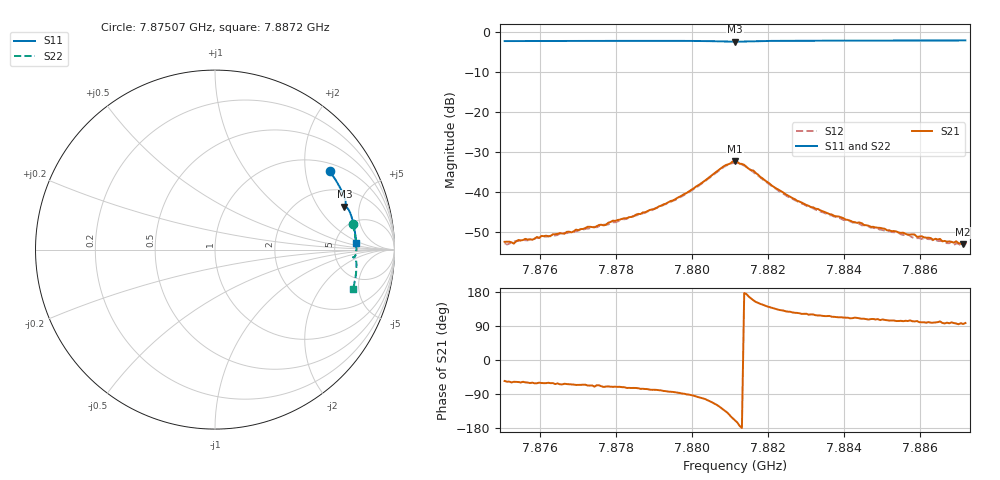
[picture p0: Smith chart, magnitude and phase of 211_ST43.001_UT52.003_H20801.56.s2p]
#  HZ  S  DB  R  50.00
! Rohde & Schwarz Vector Network Analyzer
! Rohde-Schwarz,ZNB20-2Port,1311601062101988,3.16
! Created: UTC 1/12/2023, 6:45:05 PM
! freq[Hz]  db:S11  ang:S11  db:S21  ang:S21  db:S12  ang:S12  db:S22  ang:S22
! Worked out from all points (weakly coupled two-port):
!   201 points, 7.87507 GHz to 7.8872 GHz, reference 50 ohm
!   highest |S21| = -32.35 dB at 7.88113 GHz (marker M1); lowest = -53.1 dB at 7.88714 GHz (marker M2)
!   lowest |S11| = -2.4 dB at 7.88113 GHz (marker M3), VSWR 7.32, Z = 157 + j177 ohm
!   |S11| at or under -10 dB: nowhere
!   |S22| runs from -2.3 to -1.9 dB; largest |S21 - S12| = 0.002
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7.875065e9  -2.23 34.3  -52.44 -55.4  -52.80 -58.3  -2.16 10.5
7.875308e9  -2.22 33.7  -52.88 -57.5  -52.31 -60.4  -2.16 9.9
7.875429e9  -2.22 33.3  -51.99 -58.1  -52.19 -63.2  -2.16 9.6
7.875793e9  -2.22 32.3  -51.92 -59.7  -51.61 -62.9  -2.14 8.8
7.877127e9  -2.20 28.7  -49.22 -65.2  -49.43 -68.6  -2.11 5.6
7.877734e9  -2.19 27.1  -48.17 -70.0  -48.14 -72.6  -2.09 4.2
7.879129e9  -2.18 23.2  -43.59 -79.7  -43.74 -83.8  -2.07 1.0
7.879857e9  -2.19 21.1  -40.24 -90.8  -40.33 -94.1  -2.08 -0.9
7.880827e9  -2.33 18.4  -33.58 -131.0  -33.79 -134.1  -2.22 -3.2
7.88113e9  -2.39 18.3  -32.35 -159.1  -32.71 -162.8  -2.28 -3.2
7.881434e9  -2.33 18.2  -33.74 173.9  -33.72 168.4  -2.23 -3.1
7.882465e9  -2.16 15.5  -40.57 128.5  -40.80 125.9  -2.04 -5.3
7.883193e9  -2.13 13.4  -43.83 120.1  -44.12 116.4  -2.00 -7.1
7.883981e9  -2.12 11.3  -46.51 112.0  -47.01 108.5  -1.98 -8.9
7.885194e9  -2.10 8.0  -49.54 104.0  -49.75 101.1  -1.96 -11.7
7.885558e9  -2.10 7.1  -50.16 102.4  -50.76 101.0  -1.96 -12.4
7.885679e9  -2.10 6.8  -50.70 102.8  -50.48 100.0  -1.96 -12.7
7.885861e9  -2.09 6.3  -50.63 101.8  -51.55 100.1  -1.96 -13.1
7.885922e9  -2.09 6.1  -51.21 102.9  -51.53 98.9  -1.96 -13.2
7.886953e9  -2.08 3.4  -52.29 96.3  -52.88 94.0  -1.94 -15.4
7.887135e9  -2.08 3.0  -53.08 95.1  -53.25 92.4  -1.94 -15.8
7.887196e9  -2.08 2.8  -52.86 97.6  -53.53 91.5  -1.94 -16.0
